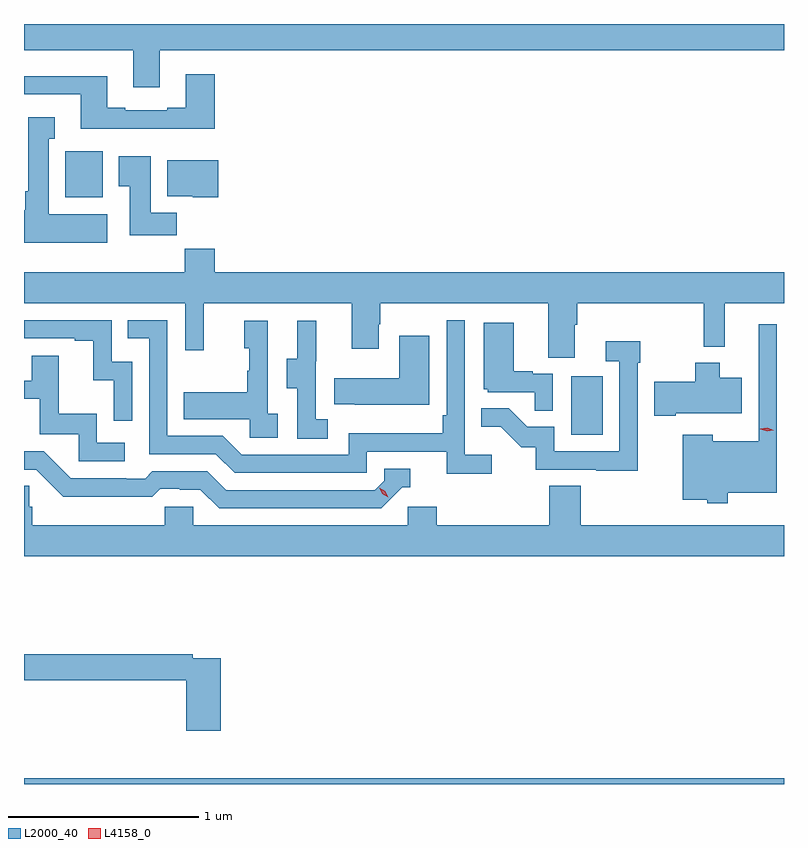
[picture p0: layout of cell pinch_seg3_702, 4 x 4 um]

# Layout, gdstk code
import gdstk
lib = gdstk.Library(unit=1e-6, precision=1e-09)
def R(c, l, rs):  # rectangles x0, y0, x1, y1
    for r in rs: c.add(gdstk.rectangle(r[:2], r[2:], *l))
def P(c, l, *ps):  # polygons
    for p in ps: c.add(gdstk.Polygon(p, *l))
L2000_40 = (2000, 40)
L4158_0 = (4158, 0)

pinch_seg3_702 = lib.new_cell('pinch_seg3_702')
R(pinch_seg3_702, L2000_40, [(1105.759,675.742,1109.759,675.772), (1108.64,677.58,1108.804,677.887), (1105.976,678.83,1106.173,679.072)])
P(pinch_seg3_702, L2000_40, [(1106.473,679.604),(1109.759,679.604),(1109.759,679.742),(1105.759,679.742),(1105.759,679.604),(1106.333,679.604),(1106.333,679.41),(1106.473,679.41)],
  [(1106.762,679.477),(1106.609,679.477),(1106.609,679.3),(1106.513,679.3),(1106.513,679.287),(1106.293,679.287),(1106.293,679.3),(1106.197,679.3),(1106.197,679.468),(1105.759,679.468),(1105.759,679.371),(1106.057,679.371),(1106.057,679.19),(1106.762,679.19)],
  [(1106.197,678.742),(1105.888,678.742),(1105.888,679.139),(1105.921,679.139),(1105.921,679.252),(1105.781,679.252),(1105.781,678.862),(1105.766,678.862),(1105.766,678.762),(1105.759,678.762),(1105.759,678.59),(1106.197,678.59)],
  [(1106.564,678.748),(1106.425,678.748),(1106.425,679.045),(1106.258,679.045),(1106.258,678.889),(1106.315,678.889),(1106.315,678.63),(1106.564,678.63)],
  [(1106.782,679.024),(1106.513,679.024),(1106.513,678.836),(1106.646,678.836),(1106.646,678.83),(1106.782,678.83)],
  [(1108.657,678.16),(1108.67,678.16),(1108.67,678.272),(1109.337,678.272),(1109.337,678.044),(1109.447,678.044),(1109.447,678.272),(1109.759,678.272),(1109.759,678.436),(1106.762,678.436),(1106.762,678.56),(1106.605,678.56),(1106.605,678.436),(1105.759,678.436),(1105.759,678.272),(1106.607,678.272),(1106.607,678.024),(1106.705,678.024),(1106.705,678.272),(1107.485,678.272),(1107.485,678.033),(1107.625,678.033),(1107.625,678.161),(1107.633,678.161),(1107.633,678.272),(1108.517,678.272),(1108.517,677.986),(1108.657,677.986)],
  [(1108.222,677.476),(1108.08,677.476),(1108.08,678.184),(1107.984,678.184),(1107.984,677.683),(1107.964,677.683),(1107.964,677.587),(1107.468,677.587),(1107.468,677.475),(1106.904,677.475),(1106.805,677.574),(1106.514,677.574),(1106.514,678.183),(1106.305,678.183),(1106.305,678.087),(1106.418,678.087),(1106.418,677.478),(1106.768,677.478),(1106.867,677.379),(1107.564,677.379),(1107.564,677.49),(1107.983,677.49),(1107.983,677.374),(1108.222,677.374)],
  [(1106.328,677.964),(1106.22,677.964),(1106.22,678.183),(1105.759,678.183),(1105.759,678.087),(1106.027,678.087),(1106.027,678.075),(1106.123,678.075),(1106.123,677.867),(1106.232,677.867),(1106.232,677.655),(1106.328,677.655)],
  [(1107.358,677.663),(1107.294,677.663),(1107.294,677.967),(1107.296,677.967),(1107.296,678.181),(1107.197,678.181),(1107.197,677.979),(1107.143,677.979),(1107.143,677.824),(1107.198,677.824),(1107.198,677.56),(1107.358,677.56)],
  [(1107.094,677.69),(1107.042,677.69),(1107.042,678.181),(1106.918,678.181),(1106.918,678.036),(1106.944,678.036),(1106.944,677.918),(1106.934,677.918),(1106.934,677.803),(1106.599,677.803),(1106.599,677.663),(1106.946,677.663),(1106.946,677.565),(1107.094,677.565)],
  [(1108.542,677.901),(1108.436,677.901),(1108.436,677.914),(1108.336,677.914),(1108.336,678.169),(1108.178,678.169),(1108.178,677.82),(1108.2,677.82),(1108.2,677.805),(1108.447,677.805),(1108.447,677.707),(1108.542,677.707)],
  [(1109.463,677.276),(1109.722,677.276),(1109.722,678.163),(1109.625,678.163),(1109.625,677.545),(1109.383,677.545),(1109.383,677.581),(1109.225,677.581),(1109.225,677.237),(1109.355,677.237),(1109.355,677.219),(1109.463,677.219)],
  [(1107.892,678.1),(1107.734,678.1),(1107.734,677.878),(1107.391,677.878),(1107.391,677.741),(1107.499,677.741),(1107.499,677.738),(1107.892,677.738)],
  [(1108.989,677.96),(1109.002,677.96),(1109.002,678.073),(1108.821,678.073),(1108.821,677.967),(1108.893,677.967),(1108.893,677.493),(1108.551,677.493),(1108.551,677.622),(1108.407,677.622),(1108.309,677.72),(1108.165,677.72),(1108.165,677.621),(1108.269,677.621),(1108.376,677.514),(1108.453,677.514),(1108.453,677.397),(1108.771,677.397),(1108.771,677.392),(1108.989,677.392)],
  [(1106.29,677.538),(1106.142,677.538),(1106.142,677.692),(1105.943,677.692),(1105.943,677.995),(1105.799,677.995),(1105.799,677.865),(1105.759,677.865),(1105.759,677.769),(1105.841,677.769),(1105.841,677.583),(1106.046,677.583),(1106.046,677.442),(1106.29,677.442)],
  [(1109.188,677.693),(1109.536,677.693),(1109.536,677.881),(1109.422,677.881),(1109.422,677.959),(1109.293,677.959),(1109.293,677.859),(1109.076,677.859),(1109.076,677.681),(1109.188,677.681)],
  [(1107.75,677.304),(1107.793,677.304),(1107.793,677.4),(1107.654,677.4),(1107.654,677.337),(1107.606,677.289),(1106.823,677.289),(1106.724,677.388),(1106.435,677.388),(1106.396,677.349),(1106.297,677.349),(1106.297,677.352),(1106.004,677.352),(1105.863,677.493),(1105.759,677.493),(1105.759,677.397),(1105.824,677.397),(1105.966,677.255),(1106.202,677.255),(1106.202,677.253),(1106.435,677.253),(1106.477,677.295),(1106.58,677.295),(1106.58,677.292),(1106.687,677.292),(1106.786,677.193),(1107.639,677.193)],
  [(1109.759,677.104),(1108.688,677.104),(1108.688,677.312),(1108.523,677.312),(1108.523,677.104),(1107.932,677.104),(1107.932,677.202),(1107.78,677.202),(1107.78,677.104),(1106.649,677.104),(1106.649,677.202),(1106.499,677.202),(1106.499,677.104),(1105.802,677.104),(1105.802,677.202),(1105.787,677.202),(1105.787,677.312),(1105.759,677.312),(1105.759,676.94),(1109.759,676.94)],
  [(1106.795,676.404),(1106.648,676.404),(1106.648,676.424),(1105.759,676.424),(1105.759,676.288),(1106.612,676.288),(1106.612,676.023),(1106.795,676.023)])
P(pinch_seg3_702, L4158_0, [(1109.67,677.598),(1109.635,677.61),(1109.635,677.61),(1109.635,677.611),(1109.672,677.618),(1109.706,677.605),(1109.706,677.605),(1109.706,677.605)],
  [(1107.676,677.25),(1107.645,677.269),(1107.629,677.302),(1107.629,677.302),(1107.63,677.302),(1107.66,677.283),(1107.676,677.25),(1107.676,677.25)])

lib.write_gds('pinch_seg3_702.gds')
